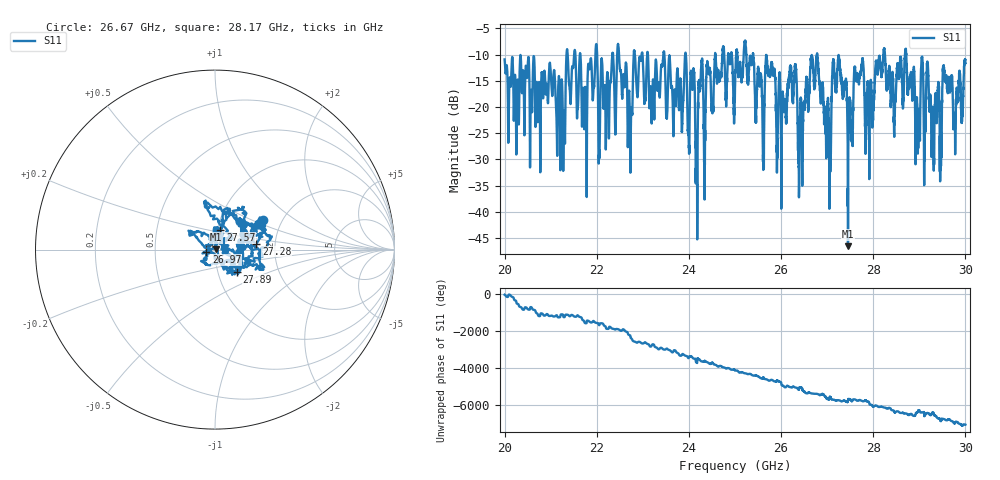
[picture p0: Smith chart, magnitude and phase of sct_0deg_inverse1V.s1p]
#  HZ  S  RI  R  50.00
! Rohde & Schwarz ZVA40 4Ports - Version 3.90 - 1145.1110k42 SN: 100403
! Date: 2023-09-28 08:14:10
! Measurement: S22
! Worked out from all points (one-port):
!   5001 points, 20 GHz to 30 GHz, reference 50 ohm
!   lowest |S11| = -46.5 dB at 27.45 GHz (marker M1), VSWR 1.01, Z = 50.5 + j0.0687 ohm
!   |S11| at or under -10 dB: start of sweep to 21.34 GHz; 25.4 GHz to 26.78 GHz (1.386 GHz wide, 5.31 % of centre); 26.78 GHz to 28.22 GHz (1.438 GHz wide, 5.23 % of centre)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
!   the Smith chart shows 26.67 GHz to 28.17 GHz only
!   S11 on the Smith chart (normalised r, x): 26.67 GHz: 1.60, +0.58; 26.97 GHz: 0.91, -0.02; 27.28 GHz: 1.60, +0.11; 27.57 GHz: 1.04, +0.23; 27.89 GHz: 1.24, -0.31; 28.17 GHz: 1.27, +0.39
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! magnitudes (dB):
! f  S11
! 20 GHz  -10.9
! 21.25 GHz  -16.1
! 21.5 GHz  -11.1
! 21.74 GHz  -18.5
! 21.85 GHz  -12.6
! 22.06 GHz  -27.5
! 22.5 GHz  -12.8
! 22.72 GHz  -21.2
! 22.96 GHz  -11.1
! 23.75 GHz  -12.6
! 24.08 GHz  -16.7
! 24.17 GHz  -31.2
! 24.26 GHz  -14.6
! 25 GHz  -16.3
! 26.25 GHz  -18.9
! 26.42 GHz  -19.3
! 26.67 GHz  -10.1
! 26.97 GHz  -26.0
! 27.28 GHz  -12.6
! 27.45 GHz  -46.5
! 27.5 GHz  -19.9
! 27.57 GHz  -18.8
! 27.75 GHz  -12.1
! 27.89 GHz  -15.2
! 28.17 GHz  -13.7
! 28.75 GHz  -17.7
! 29.29 GHz  -20.0
! 30 GHz  -11.7
